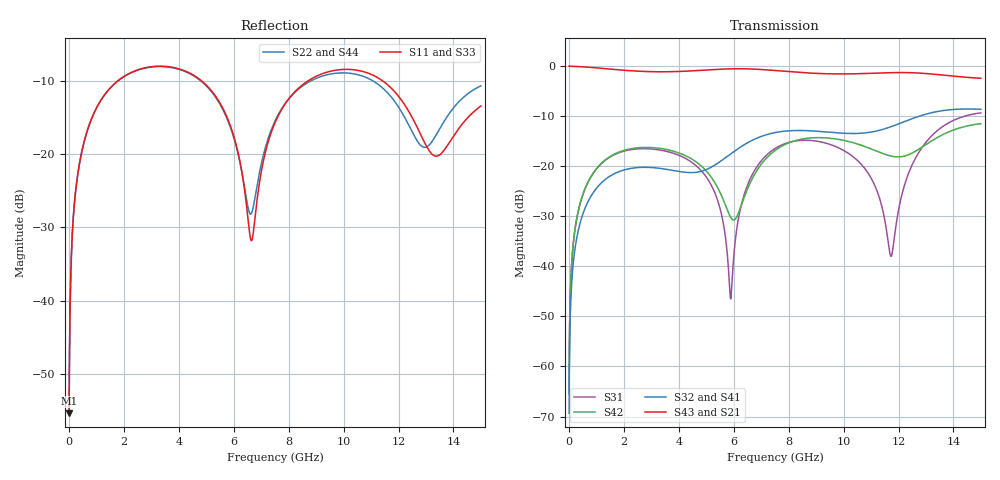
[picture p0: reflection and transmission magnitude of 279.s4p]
! Created with skrf 1.8.0 (http://scikit-rf.org).
# GHz S RI R 50.0
!freq ReS11 ImS11 ReS12 ImS12 ReS13 ImS13
! ReS14 ImS14
! ReS21 ImS21 ReS22 ImS22 ReS23 ImS23
! ReS24 ImS24
! ReS31 ImS31 ReS32 ImS32 ReS33 ImS33
! ReS34 ImS34
! ReS41 ImS41 ReS42 ImS42 ReS43 ImS43
! ReS44 ImS44
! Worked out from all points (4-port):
!   2499 points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, 5 MHz to 15 GHz, reference 50 ohm
!   strongest paths, dB at 5 MHz, 3.476 GHz, 7.19 GHz, 11.1 GHz, 15 GHz:
!     S43: 0.0, -1.1, -0.7, -1.4, -2.4
!     S21: 0.0, -1.1, -0.7, -1.4, -2.4
!     S32: -69.4, -20.6, -13.7, -13.1, -8.6
!     S41: -69.4, -20.6, -13.7, -13.1, -8.7
!     S42: -65.4, -16.6, -18.4, -16.7, -11.5
!     S31: -65.4, -16.9, -17.8, -23.4, -9.3
!   lowest |S11| = -55.3 dB at 5 MHz (marker M1), VSWR 1.00, Z = 50.1 + j0.104 ohm
!   |S11| at or under -10 dB: start of sweep to 1.785 GHz; 4.821 GHz to 8.715 GHz (3.894 GHz wide, 57.5 % of centre); 11.41 GHz to end of sweep
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0.005  0.00136 0.00103  0.9986 -0.00265  6.72e-05 0.000532  -6.54e-05 -0.000334
       0.9986 -0.00265  0.00136 0.00103  -6.54e-05 -0.000334  6.73e-05 0.000532
       6.72e-05 0.000532  -6.54e-05 -0.000334  0.00136 0.00103  0.9986 -0.00265
       -6.54e-05 -0.000334  6.73e-05 0.000532  0.9986 -0.00265  0.00136 0.00103
0.3626511  0.0219 0.079  0.9699 -0.1911  0.00979 0.0368  -0.00836 -0.0229
           0.9699 -0.1911  0.0219 0.079  -0.00837 -0.0229  0.0103 0.0367
           0.00979 0.0368  -0.00837 -0.0229  0.0219 0.079  0.9699 -0.1911
           -0.00836 -0.0229  0.0103 0.0367  0.9699 -0.1911  0.0219 0.079
1.77574  0.2552 0.185  0.584 -0.71  0.1164 0.0684  -0.0863 -0.012
         0.584 -0.71  0.253 0.1863  -0.0865 -0.0118  0.1229 0.0604
         0.1164 0.0684  -0.0865 -0.0118  0.255 0.1851  0.5841 -0.71
         -0.0863 -0.012  0.1229 0.0604  0.5841 -0.71  0.2531 0.1862
5.883702  0.0726 -0.1365  -0.8532 -0.3921  0.00464 0.000979  -0.0527 0.1216
          -0.8532 -0.3921  0.0827 -0.1263  -0.0498 0.1229  -0.0264 -0.0164
          0.00464 0.000979  -0.0498 0.1229  0.0731 -0.1356  -0.8533 -0.3922
          -0.0527 0.1216  -0.0264 -0.0164  -0.8533 -0.3922  0.0816 -0.1262
6.546478  0.0252 -0.0205  -0.9339 -0.0872  0.0115 0.0685  -0.0147 0.1736
          -0.9339 -0.0872  0.0386 -0.0145  -0.0109 0.1738  -0.0143 0.0618
          0.0115 0.0685  -0.0109 0.1738  0.0259 -0.0203  -0.9339 -0.0874
          -0.0147 0.1736  -0.0143 0.0618  -0.9339 -0.0874  0.0376 -0.0139
11.72989  0.223 -0.1727  0.5484 0.6609  0.0107 0.00671  0.1894 -0.1599
          0.5484 0.6609  0.2079 -0.1308  0.1825 -0.1684  -0.0754 -0.1013
          0.0107 0.00671  0.1825 -0.1684  0.2202 -0.1694  0.549 0.662
          0.1894 -0.1599  -0.0754 -0.1013  0.549 0.662  0.2033 -0.1299
15  0.2062 0.0515  0.6049 -0.4554  0.3184 0.1219  -0.2785 -0.2366
    0.6049 -0.4554  0.2846 0.0637  -0.2919 -0.2281  0.1931 0.1833
    0.3184 0.1219  -0.2919 -0.2281  0.1982 0.0547  0.6054 -0.4536
    -0.2785 -0.2366  0.1931 0.1833  0.6054 -0.4536  0.2928 0.0676
